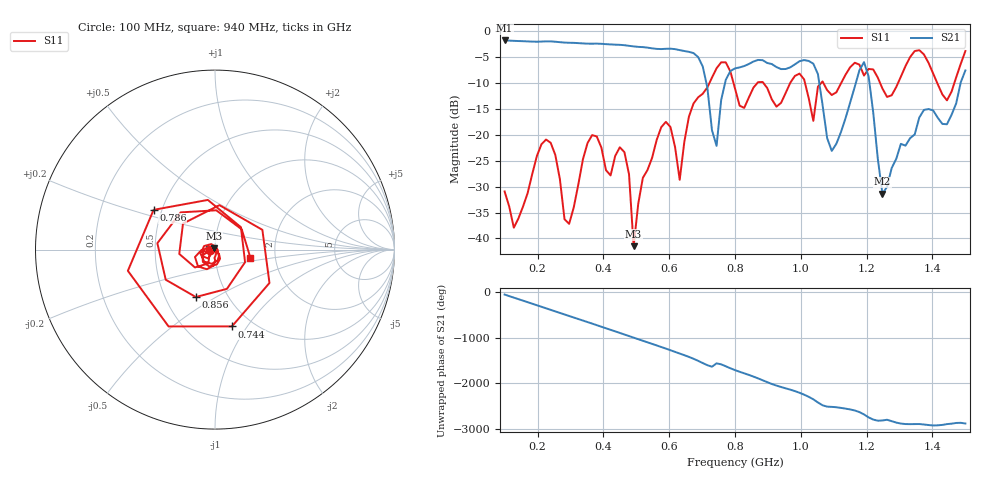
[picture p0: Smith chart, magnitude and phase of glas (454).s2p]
! NanoVNA-App
! Date: 2025-09-25 15:59:00
! Start: 100MHz Stop: 1,5GHz Points: 101
! S-Parameter data: F S11 S21 S12 S22
# Hz S RI R 50
!  Frequency  S11_Real  S11_Imag  S21_Real  S21_Imag  S12_Real  S12_Imag  S22_Real  S22_Imag
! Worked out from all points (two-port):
!   101 points, 100 MHz to 1.5 GHz, reference 50 ohm
!   highest |S21| = -1.80 dB at 100 MHz (marker M1); lowest = -31.4 dB at 1.248 GHz (marker M2)
!   |S21| within 3 dB of the highest: start of sweep to 684.3 MHz
!   lowest |S11| = -41.5 dB at 492 MHz (marker M3), VSWR 1.02, Z = 49.5 + j0.654 ohm
!   |S11| at or under -10 dB: start of sweep to 722.4 MHz; 795.4 MHz to 868 MHz (72.56 MHz wide, 8.72 % of centre); 886.2 MHz to 967.7 MHz (81.52 MHz wide, 8.79 % of centre) (the widest 3 of 7)
!   S12 and S22 are empty: the file has one direction only
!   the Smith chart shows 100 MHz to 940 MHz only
!   S11 on the Smith chart (normalised r, x): 100 MHz: 0.95, -0.01; 744 MHz: 0.80, -0.85; 786 MHz: 0.45, +0.24; 856 MHz: 0.71, -0.41; 940 MHz: 1.48, -0.14
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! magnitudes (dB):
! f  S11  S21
! 100 MHz  -30.9  -1.8
! 128 MHz  -37.9  -1.9
! 226 MHz  -20.9  -2.0
! 296 MHz  -37.2  -2.2
! 338 MHz  -24.7  -2.4
! 464 MHz  -23.4  -2.7
! 492 MHz  -41.5  -2.9
! 576 MHz  -18.5  -3.5
! 632 MHz  -28.7  -3.7
! 702 MHz  -12.1  -6.8
! 744 MHz  -7.2  -22.2
! 786 MHz  -7.8  -7.7
! 800 MHz  -11.1  -7.2
! 856 MHz  -10.9  -5.9
! 940 MHz  -13.8  -7.3
! 996 MHz  -8.2  -5.8
! 1.038 GHz  -17.3  -6.3
! 1.094 GHz  -12.3  -23.1
! 1.192 GHz  -8.6  -6.0
! 1.248 GHz  -11.1  -31.4
! 1.276 GHz  -12.4  -26.4
! 1.5 GHz  -3.8  -7.6
